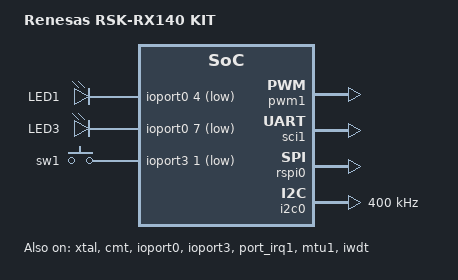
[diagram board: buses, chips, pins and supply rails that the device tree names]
/*
 * Copyright (c) 2025 Renesas Electronics Corporation
 *
 * SPDX-License-Identifier: Apache-2.0
 */

/dts-v1/;

#include <renesas/r5f51406.dtsi>
#include <dt-bindings/gpio/gpio.h>
#include "rsk_rx140-pinctrl.dtsi"
#include <zephyr/dt-bindings/input/input-event-codes.h>
#include <zephyr/dt-bindings/adc/adc.h>

/ {
	model = "Renesas RSK-RX140 KIT";
	compatible = "renesas,rsk_rx140";

	chosen {
		zephyr,sram = &sram0;
		zephyr,flash = &code_flash;
		zephyr,flash-controller = &flash;
		zephyr,console = &uart1;
		zephyr,shell-uart = &uart1;
	};

	leds {
		compatible = "gpio-leds";

		led1: led1 {
			gpios = <&ioport0 4 GPIO_ACTIVE_LOW>;
			label = "LED1";
		};

		led3: led3 {
			gpios = <&ioport0 7 GPIO_ACTIVE_LOW>;
			label = "LED3";
		};
	};

	buttons {
		compatible = "gpio-keys";

		sw1: button {
			label = "sw1";
			gpios = <&ioport3 1 (GPIO_PULL_UP | GPIO_ACTIVE_LOW)>;
			zephyr,code = <INPUT_KEY_0>;
		};
	};

	aliases {
		led0 = &led1;
		led1 = &led3;
		watchdog0 = &iwdt;
	};
};

&xtal {
	clock-frequency = <DT_FREQ_M(8)>;
	mosel = <0>;
	#clock-cells = <0>;
	status = "okay";
};

&subclk {
	status = "okay";
};

&pll {
	status = "okay";
};

&cmt {
	clock-frequency = <3000000>;
	status = "okay";
};

&ioport0 {
	status = "okay";
};

&ioport3 {
	status = "okay";
};

&port_irq1 {
	status = "okay";
};

&mtu1 {
	status = "okay";
	pinctrl-0 = <&pwm1_default>;
	pinctrl-names = "default";

	pwm1: pwm {
		status = "okay";
	};
};

&sci1 {
	pinctrl-0 = <&sci1_default>;
	pinctrl-names = "default";
	status = "okay";

	uart1: uart {
		current-speed = <115200>;
		status = "okay";
	};
};

&rspi0 {
	pinctrl-0 = <&rspi0_default>;
	pinctrl-names = "default";
	ssl-assert = <0>;
	status = "okay";
};

&i2c0 {
	pinctrl-0 = <&i2c0_default>;
	pinctrl-names = "default";
	clock-frequency = <DT_FREQ_K(400)>;
	status = "okay";
};

&data_flash {
	partitions {
		compatible = "fixed-partitions";
		#address-cells = <1>;
		#size-cells = <1>;
		ranges;

		storage_partition: partition@0 {
			label = "storage";
			reg = <0x0 DT_SIZE_K(8)>;
		};
	};
};

&iwdt {
	window-start = <0x3000>;
	window-end = <0x0300>;
	status = "okay";
};
